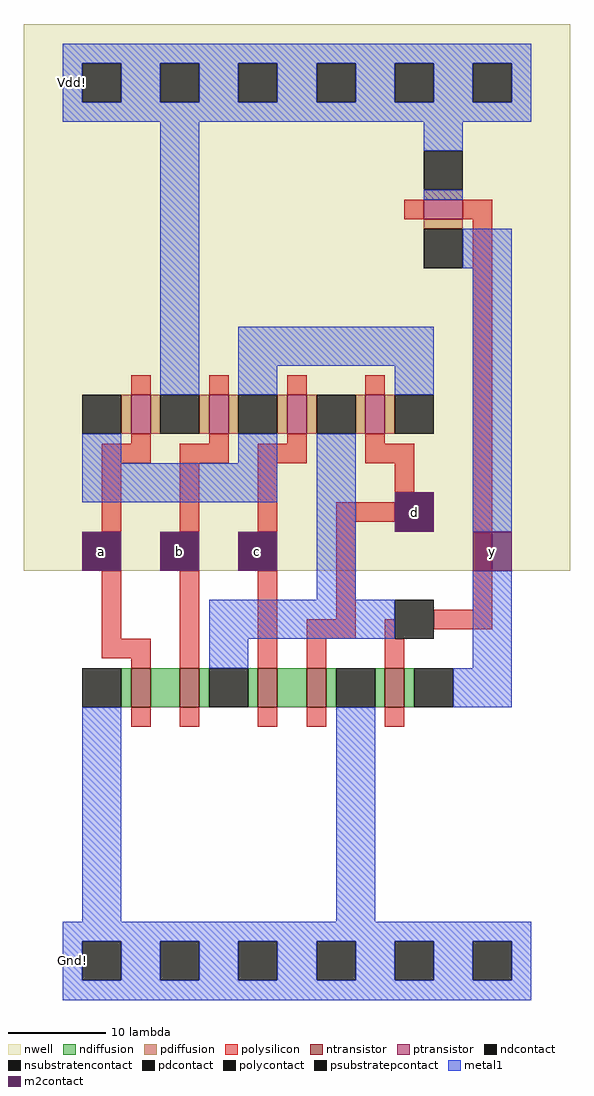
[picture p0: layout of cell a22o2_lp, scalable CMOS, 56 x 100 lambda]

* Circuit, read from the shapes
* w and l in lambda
.subckt a22o2_lp Gnd! Vdd! a b c d y
M1 n1 a Gnd! Gnd! nfet w=4 l=2
M2 n2 b n1 Gnd! nfet w=4 l=2
M3 n3 c n2 Gnd! nfet w=4 l=2
M4 Gnd! d n3 Gnd! nfet w=4 l=2
M5 y n2 Gnd! Gnd! nfet w=4 l=2
M6 Vdd! a n4 Vdd! pfet w=4 l=2
M7 n4 b Vdd! Vdd! pfet w=4 l=2
M8 n2 c n4 Vdd! pfet w=4 l=2
M9 n4 d n2 Vdd! pfet w=4 l=2
M10 Vdd! n2 y Vdd! pfet w=4 l=2
.ends

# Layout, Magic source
magic
tech scmos
<< nwell >>
rect -6 40 50 96
<< ntransistor >>
rect 5 26 7 30
rect 10 26 12 30
rect 18 26 20 30
rect 23 26 25 30
rect 31 26 33 30
<< ptransistor >>
rect 35 76 39 78
rect 5 54 7 58
rect 13 54 15 58
rect 21 54 23 58
rect 29 54 31 58
<< ndiffusion >>
rect 4 26 5 30
rect 7 26 10 30
rect 12 26 13 30
rect 17 26 18 30
rect 20 26 23 30
rect 25 26 26 30
rect 30 26 31 30
rect 33 26 34 30
<< pdiffusion >>
rect 35 78 39 79
rect 35 75 39 76
rect 4 54 5 58
rect 7 54 8 58
rect 12 54 13 58
rect 15 54 16 58
rect 20 54 21 58
rect 23 54 24 58
rect 28 54 29 58
rect 31 54 32 58
<< ndcontact >>
rect 0 26 4 30
rect 13 26 17 30
rect 26 26 30 30
rect 34 26 38 30
<< pdcontact >>
rect 35 79 39 83
rect 35 71 39 75
rect 0 54 4 58
rect 8 54 12 58
rect 16 54 20 58
rect 24 54 28 58
rect 32 54 36 58
<< psubstratepcontact >>
rect 0 -2 4 2
rect 8 -2 12 2
rect 16 -2 20 2
rect 24 -2 28 2
rect 32 -2 36 2
rect 40 -2 44 2
<< nsubstratencontact >>
rect 0 88 4 92
rect 8 88 12 92
rect 16 88 20 92
rect 24 88 28 92
rect 32 88 36 92
rect 40 88 44 92
<< polysilicon >>
rect 33 76 35 78
rect 39 76 42 78
rect 5 58 7 60
rect 13 58 15 60
rect 21 58 23 60
rect 29 58 31 60
rect 5 53 7 54
rect 13 53 15 54
rect 21 53 23 54
rect 2 51 7 53
rect 10 51 15 53
rect 18 51 23 53
rect 29 53 31 54
rect 29 51 34 53
rect 2 44 4 51
rect 10 44 12 51
rect 18 44 20 51
rect 32 48 34 51
rect 2 33 4 40
rect 2 31 7 33
rect 5 30 7 31
rect 10 30 12 40
rect 18 30 20 40
rect 26 45 32 47
rect 26 35 28 45
rect 23 33 28 35
rect 31 33 32 35
rect 40 36 42 76
rect 36 34 42 36
rect 23 30 25 33
rect 31 30 33 33
rect 5 24 7 26
rect 10 24 12 26
rect 18 24 20 26
rect 23 24 25 26
rect 31 24 33 26
<< polycontact >>
rect 0 40 4 44
rect 8 40 12 44
rect 16 40 20 44
rect 32 44 36 48
rect 32 33 36 37
<< metal1 >>
rect -2 92 46 94
rect -2 88 0 92
rect 4 88 8 92
rect 12 88 16 92
rect 20 88 24 92
rect 28 88 32 92
rect 36 88 40 92
rect 44 88 46 92
rect -2 86 46 88
rect 8 58 12 86
rect 35 83 39 86
rect 35 78 39 79
rect 39 71 44 75
rect 16 61 36 65
rect 16 58 20 61
rect 32 58 36 61
rect 0 51 4 54
rect 16 51 20 54
rect 0 47 20 51
rect 24 37 28 54
rect 40 44 44 71
rect 13 33 32 37
rect 13 30 17 33
rect 40 30 44 40
rect 38 26 44 30
rect 0 4 4 26
rect 26 4 30 26
rect -2 2 46 4
rect -2 -2 0 2
rect 4 -2 8 2
rect 12 -2 16 2
rect 20 -2 24 2
rect 28 -2 32 2
rect 36 -2 40 2
rect 44 -2 46 2
rect -2 -4 46 -2
<< m2contact >>
rect 0 40 4 44
rect 8 40 12 44
rect 16 40 20 44
rect 32 44 36 48
rect 40 40 44 44
<< labels >>
rlabel metal1 -1 0 -1 0 2 Gnd!
rlabel metal1 -1 90 -1 90 3 Vdd!
rlabel m2contact 2 42 2 42 1 a
rlabel m2contact 10 42 10 42 1 b
rlabel m2contact 18 42 18 42 1 c
rlabel m2contact 34 46 34 46 1 d
rlabel m2contact 42 42 42 42 1 y
<< end >>
